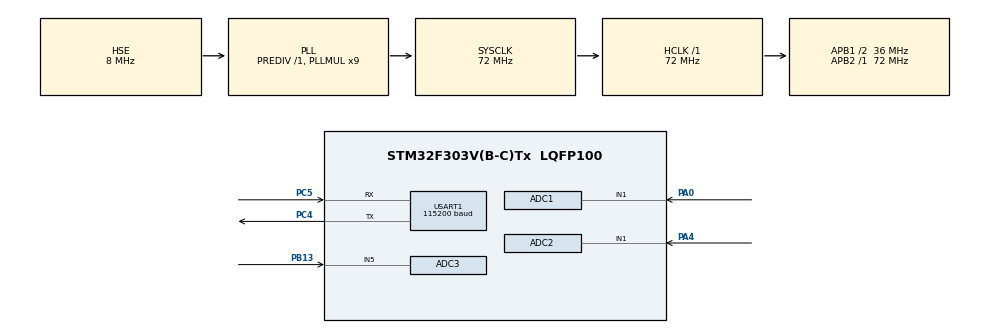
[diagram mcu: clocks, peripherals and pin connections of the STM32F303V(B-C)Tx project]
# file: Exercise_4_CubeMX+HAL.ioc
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ADC1.Channel-1\#ChannelRegularConversion=ADC_CHANNEL_1
ADC1.Channel-2\#ChannelRegularConversion=ADC_CHANNEL_1
ADC1.Channel-3\#ChannelRegularConversion=ADC_CHANNEL_1
ADC1.Channel-4\#ChannelRegularConversion=ADC_CHANNEL_1
ADC1.Channel-5\#ChannelRegularConversion=ADC_CHANNEL_1
ADC1.ContinuousConvMode=DISABLE
ADC1.DMAContinuousRequests=DISABLE
ADC1.NbrOfConversion=5
ADC1.NbrOfConversionFlag=1
ADC1.Offset-1\#ChannelRegularConversion=0
ADC1.Offset-2\#ChannelRegularConversion=0
ADC1.Offset-3\#ChannelRegularConversion=0
ADC1.Offset-4\#ChannelRegularConversion=0
ADC1.Offset-5\#ChannelRegularConversion=0
ADC1.OffsetNumber-1\#ChannelRegularConversion=ADC_OFFSET_NONE
ADC1.OffsetNumber-2\#ChannelRegularConversion=ADC_OFFSET_NONE
ADC1.OffsetNumber-3\#ChannelRegularConversion=ADC_OFFSET_NONE
ADC1.OffsetNumber-4\#ChannelRegularConversion=ADC_OFFSET_NONE
ADC1.OffsetNumber-5\#ChannelRegularConversion=ADC_OFFSET_NONE
ADC1.Rank-1\#ChannelRegularConversion=1
ADC1.Rank-2\#ChannelRegularConversion=2
ADC1.Rank-3\#ChannelRegularConversion=3
ADC1.Rank-4\#ChannelRegularConversion=4
ADC1.Rank-5\#ChannelRegularConversion=5
ADC1.Resolution=ADC_RESOLUTION_8B
ADC1.SamplingTime-1\#ChannelRegularConversion=ADC_SAMPLETIME_1CYCLE_5
ADC1.SamplingTime-2\#ChannelRegularConversion=ADC_SAMPLETIME_1CYCLE_5
ADC1.SamplingTime-3\#ChannelRegularConversion=ADC_SAMPLETIME_1CYCLE_5
ADC1.SamplingTime-4\#ChannelRegularConversion=ADC_SAMPLETIME_1CYCLE_5
ADC1.SamplingTime-5\#ChannelRegularConversion=ADC_SAMPLETIME_1CYCLE_5
ADC1.master=1
ADC2.Channel-1\#ChannelRegularConversion=ADC_CHANNEL_1
ADC2.Channel-2\#ChannelRegularConversion=ADC_CHANNEL_1
ADC2.Channel-3\#ChannelRegularConversion=ADC_CHANNEL_1
ADC2.Channel-4\#ChannelRegularConversion=ADC_CHANNEL_1
ADC2.Channel-6\#ChannelRegularConversion=ADC_CHANNEL_1
ADC2.ContinuousConvMode=DISABLE
ADC2.NbrOfConversion=5
ADC2.NbrOfConversionFlag=1
ADC2.Offset-1\#ChannelRegularConversion=0
ADC2.Offset-2\#ChannelRegularConversion=0
ADC2.Offset-3\#ChannelRegularConversion=0
ADC2.Offset-4\#ChannelRegularConversion=0
ADC2.Offset-6\#ChannelRegularConversion=0
ADC2.OffsetNumber-1\#ChannelRegularConversion=ADC_OFFSET_NONE
ADC2.OffsetNumber-2\#ChannelRegularConversion=ADC_OFFSET_NONE
ADC2.OffsetNumber-3\#ChannelRegularConversion=ADC_OFFSET_NONE
ADC2.OffsetNumber-4\#ChannelRegularConversion=ADC_OFFSET_NONE
ADC2.OffsetNumber-6\#ChannelRegularConversion=ADC_OFFSET_NONE
ADC2.Rank-1\#ChannelRegularConversion=1
ADC2.Rank-2\#ChannelRegularConversion=2
ADC2.Rank-3\#ChannelRegularConversion=3
ADC2.Rank-4\#ChannelRegularConversion=4
ADC2.Rank-6\#ChannelRegularConversion=5
ADC2.Resolution=ADC_RESOLUTION_8B
ADC2.SamplingTime-1\#ChannelRegularConversion=ADC_SAMPLETIME_1CYCLE_5
ADC2.SamplingTime-2\#ChannelRegularConversion=ADC_SAMPLETIME_1CYCLE_5
ADC2.SamplingTime-3\#ChannelRegularConversion=ADC_SAMPLETIME_1CYCLE_5
ADC2.SamplingTime-4\#ChannelRegularConversion=ADC_SAMPLETIME_1CYCLE_5
ADC2.SamplingTime-6\#ChannelRegularConversion=ADC_SAMPLETIME_1CYCLE_5
ADC3.Channel-1\#ChannelRegularConversion=ADC_CHANNEL_5
ADC3.Channel-2\#ChannelRegularConversion=ADC_CHANNEL_5
ADC3.Channel-3\#ChannelRegularConversion=ADC_CHANNEL_5
ADC3.Channel-4\#ChannelRegularConversion=ADC_CHANNEL_5
ADC3.Channel-5\#ChannelRegularConversion=ADC_CHANNEL_5
ADC3.ContinuousConvMode=DISABLE
ADC3.NbrOfConversion=5
ADC3.NbrOfConversionFlag=1
ADC3.Offset-1\#ChannelRegularConversion=0
ADC3.Offset-2\#ChannelRegularConversion=0
ADC3.Offset-3\#ChannelRegularConversion=0
ADC3.Offset-4\#ChannelRegularConversion=0
ADC3.Offset-5\#ChannelRegularConversion=0
ADC3.OffsetNumber-1\#ChannelRegularConversion=ADC_OFFSET_NONE
ADC3.OffsetNumber-2\#ChannelRegularConversion=ADC_OFFSET_NONE
ADC3.OffsetNumber-3\#ChannelRegularConversion=ADC_OFFSET_NONE
ADC3.OffsetNumber-4\#ChannelRegularConversion=ADC_OFFSET_NONE
ADC3.OffsetNumber-5\#ChannelRegularConversion=ADC_OFFSET_NONE
ADC3.Rank-1\#ChannelRegularConversion=1
ADC3.Rank-2\#ChannelRegularConversion=2
ADC3.Rank-3\#ChannelRegularConversion=3
ADC3.Rank-4\#ChannelRegularConversion=4
ADC3.Rank-5\#ChannelRegularConversion=5
ADC3.Resolution=ADC_RESOLUTION_8B
ADC3.SamplingTime-1\#ChannelRegularConversion=ADC_SAMPLETIME_1CYCLE_5
ADC3.SamplingTime-2\#ChannelRegularConversion=ADC_SAMPLETIME_1CYCLE_5
ADC3.SamplingTime-3\#ChannelRegularConversion=ADC_SAMPLETIME_1CYCLE_5
ADC3.SamplingTime-4\#ChannelRegularConversion=ADC_SAMPLETIME_1CYCLE_5
ADC3.SamplingTime-5\#ChannelRegularConversion=ADC_SAMPLETIME_1CYCLE_5
ADC3.master=1
Dma.ADC1.1.Direction=DMA_PERIPH_TO_MEMORY
Dma.ADC1.1.Instance=DMA1_Channel1
Dma.ADC1.1.MemDataAlignment=DMA_MDATAALIGN_WORD
Dma.ADC1.1.MemInc=DMA_MINC_ENABLE
Dma.ADC1.1.Mode=DMA_NORMAL
Dma.ADC1.1.PeriphDataAlignment=DMA_PDATAALIGN_BYTE
Dma.ADC1.1.PeriphInc=DMA_PINC_DISABLE
Dma.ADC1.1.Priority=DMA_PRIORITY_LOW
Dma.ADC2.2.Direction=DMA_PERIPH_TO_MEMORY
Dma.ADC2.2.Instance=DMA2_Channel1
Dma.ADC2.2.MemDataAlignment=DMA_MDATAALIGN_WORD
Dma.ADC2.2.MemInc=DMA_MINC_ENABLE
Dma.ADC2.2.Mode=DMA_NORMAL
Dma.ADC2.2.PeriphDataAlignment=DMA_PDATAALIGN_BYTE
Dma.ADC2.2.PeriphInc=DMA_PINC_DISABLE
Dma.ADC2.2.Priority=DMA_PRIORITY_LOW
Dma.ADC3.0.Direction=DMA_PERIPH_TO_MEMORY
Dma.ADC3.0.Instance=DMA2_Channel5
Dma.ADC3.0.MemDataAlignment=DMA_MDATAALIGN_WORD
Dma.ADC3.0.MemInc=DMA_MINC_ENABLE
Dma.ADC3.0.Mode=DMA_NORMAL
Dma.ADC3.0.PeriphDataAlignment=DMA_PDATAALIGN_BYTE
Dma.ADC3.0.PeriphInc=DMA_PINC_DISABLE
Dma.ADC3.0.Priority=DMA_PRIORITY_LOW
Dma.Request0=ADC3
Dma.Request1=ADC1
Dma.Request2=ADC2
Mcu.Family=STM32F3
Mcu.Name=STM32F303V(B-C)Tx
Mcu.Package=LQFP100
NVIC.DMA1_Channel1_IRQn=true\:0\:0\:false\:false\:true\:false\:true
NVIC.DMA2_Channel1_IRQn=true\:0\:0\:false\:false\:true\:false\:true
NVIC.DMA2_Channel5_IRQn=true\:0\:0\:false\:false\:true\:false\:true
NVIC.PriorityGroup=NVIC_PRIORITYGROUP_4
PA0.Mode=IN1-Single-Ended
PA0.Signal=ADC1_IN1
PA13.Mode=Serial_Wire
PA13.Signal=SYS_JTMS-SWDIO
PA14.Mode=Serial_Wire
PA14.Signal=SYS_JTCK-SWCLK
PA4.Mode=IN1-Single-Ended
PA4.Signal=ADC2_IN1
PB13.Mode=IN5-Single-Ended
PB13.Signal=ADC3_IN5
PC4.Mode=Asynchronous
PC4.Signal=USART1_TX
PC5.Mode=Asynchronous
PC5.Signal=USART1_RX
PF0-OSC_IN.Mode=HSE-External-Clock-Source
PF0-OSC_IN.Signal=RCC_OSC_IN
ProjectManager.HeapSize=0x200
ProjectManager.StackSize=0x400
ProjectManager.TargetToolchain=MDK-ARM V5.27
RCC.ADC12PRES=RCC_ADC12PLLCLK_DIV2
RCC.ADC34PRES=RCC_ADC34PLLCLK_DIV2
RCC.AHBFreq_Value=72000000
RCC.APB1CLKDivider=RCC_HCLK_DIV2
RCC.APB1Freq_Value=36000000
RCC.APB1TimFreq_Value=72000000
RCC.APB2Freq_Value=72000000
RCC.APB2TimFreq_Value=72000000
RCC.CortexFreq_Value=72000000
RCC.HCLKFreq_Value=72000000
RCC.HSE_VALUE=8000000
RCC.HSI_VALUE=8000000
RCC.LSE_VALUE=32768
RCC.PLLMUL=RCC_PLL_MUL9
RCC.PLLSourceVirtual=RCC_PLLSOURCE_HSE
RCC.SYSCLKFreq_VALUE=72000000
RCC.SYSCLKSourceVirtual=RCC_SYSCLKSOURCE_PLLCLK
RCC.USBFreq_Value=72000000
USART1.BaudRate=115200
USART1.VirtualMode-Asynchronous=VM_ASYNC
board=custom

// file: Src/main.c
/* USER CODE BEGIN Header */
/**
  ******************************************************************************
  * @file           : main.c
  * @brief          : Main program body
  ******************************************************************************
  * @attention
  *
  * <h2><center>&copy; Copyright (c) 2019 STMicroelectronics.
  * All rights reserved.</center></h2>
  *
  * This software component is licensed by ST under BSD 3-Clause license,
  * the "License"; You may not use this file except in compliance with the
  * License. You may obtain a copy of the License at:
  *                        opensource.org/licenses/BSD-3-Clause
  *
  ******************************************************************************
  */
/* USER CODE END Header */

#include "main.h"
#include "adc.h"
#include "dma.h"
#include "usart.h"
#include "gpio.h"

/* USER CODE BEGIN Includes */

#include "..\Lib\arr.h"

/* USER CODE END Includes */

/* USER CODE BEGIN PTD */

///< Number of ADC samples (must be synced with HAL ADC settings)
#define ADC_SAMPLES_NUM		5

/// Length of ADC caption (including '\0') max value 255
#define ADC_CAPTION_LENGTH	6

/// ADC control struct.
typedef struct __ADC_ControlTypeDef {
	uint8_t caption[ADC_CAPTION_LENGTH];	///< User friendly name of ADC
	ADC_HandleTypeDef *adc;			///< Pointer to ADC HAL handler struct
	uint32_t buff[ADC_SAMPLES_NUM];		///< Measurements buffer
	uint8_t conv_cplt_f;			///< Conversion completed flag
} ADC_ControlTypeDef;

/* USER CODE END PTD */

/* USER CODE BEGIN PV */

/// Store ADC control struct
ADC_ControlTypeDef adc[3];

/* USER CODE END PV */

void SystemClock_Config(void);
/* USER CODE BEGIN PFP */

/** \brief	Set conversion compleat flag (redefined callback).
 *
 * \param[in] hadc	Pointer to ADC control struct.
 */
void HAL_ADC_ConvCpltCallback(ADC_HandleTypeDef* hadc)
{
	if (hadc == &hadc1) {
		adc[0].conv_cplt_f = 1;		// set conversion completed flag
	}
	if (hadc == &hadc2) {
		adc[1].conv_cplt_f = 1;
	}
	if (hadc == &hadc3) {
		adc[2].conv_cplt_f = 1;
	}
}

/** \brief	Initialise ADC control struct by HAL handle and caption.
 *
 * \param[out] 		*adc	Pointer to ADC control struct.
 * \param[in] 		*hadc	Pointer to HAL handle ADC struct.
 * \param[in,out]	title[]	Caption string.
 */
void adc_init(ADC_ControlTypeDef *adc, ADC_HandleTypeDef *hadc, char title[])
{
	// copy caption (with preventing overloading)
	for (uint8_t i = 0; i < (ADC_CAPTION_LENGTH - 1); i++) {
		adc->caption[i] = title[i];

		if (title[i] == 0) {
			break;
		}
	}
	adc->caption[ADC_CAPTION_LENGTH - 1] = '\0';

	adc->conv_cplt_f = 0;
	adc->adc = hadc;

	HAL_ADC_Start_DMA(hadc, adc->buff, ADC_SAMPLES_NUM);
}

/** \brief	Print measured values according to received ADC control struct pointer.
 *
 * \param[in]	*adc	Pointer to ADC control struct.
 *
 * \note	Printing format:
 *		[caption] tab [val1] tab [val2] ... tab [val5] new line + return
 */
void adc_print(ADC_ControlTypeDef *adc)
{
	// display ADC caption
	HAL_UART_Transmit(	&huart1,
				adc->caption,
				strlen((char*)adc->caption),
				HAL_MAX_DELAY
			);
	uint8_t tab_ch = '\t';
	HAL_UART_Transmit(&huart1, &tab_ch, 1, HAL_MAX_DELAY);

	// display measured(changed) values
	arr_print(adc->buff, ADC_SAMPLES_NUM);
}

/** \brief	Clean ADC values printin area from old values (3 lines height).
 *
 * \pre		Must be used after ADC measurements printing by adc_print().
 */
void terminal_clean(void)
{
	// move cursor up for three lines
	uint8_t up_str[] = {"\33[3A"};
	HAL_UART_Transmit(&huart1, up_str, strlen((char*)up_str), HAL_MAX_DELAY);

	// clear printing area (3 lines down)
	uint8_t clean_str[] = {"     \t   \t   \t   \t   \t   \n\r"};
	HAL_UART_Transmit(&huart1, clean_str, strlen((char*)clean_str), HAL_MAX_DELAY);
	HAL_UART_Transmit(&huart1, clean_str, strlen((char*)clean_str), HAL_MAX_DELAY);
	HAL_UART_Transmit(&huart1, clean_str, strlen((char*)clean_str), HAL_MAX_DELAY);

	// move cursor up for three lines
	HAL_UART_Transmit(&huart1, up_str, strlen((char*)up_str), HAL_MAX_DELAY);
}

/* USER CODE END PFP */

int main(void)
{

  /* MCU Configuration--------------------------------------------------------*/

  /* Reset of all peripherals, Initializes the Flash interface and the Systick. */
  HAL_Init();

  /* Configure the system clock */
  SystemClock_Config();

  /* Initialize all configured peripherals */
  MX_GPIO_Init();
  MX_DMA_Init();
  MX_ADC1_Init();
  MX_ADC2_Init();
  MX_ADC3_Init();
  MX_USART1_UART_Init();
  /* USER CODE BEGIN 2 */

	adc_init(adc + 0, &hadc1, "ADC 1");
	adc_init(adc + 1, &hadc2, "ADC 2");
	adc_init(adc + 2, &hadc3, "ADC 3");

	uint8_t welcome_msg[] = {"\n\r8bit ADC1-ch1 PA0, ADC2-ch1 PA4, ADC3-ch5 PB13 values\n\r"};
	HAL_UART_Transmit(&huart1, welcome_msg, strlen((char*)welcome_msg), 1000);

  /* USER CODE END 2 */

  /* Infinite loop */
  /* USER CODE BEGIN WHILE */

  while (1)
  {
	for (uint8_t i = 0; i < 3; i++) {
		adc_print(adc + i);

		if (adc[i].conv_cplt_f == 1) {
			adc[i].conv_cplt_f = 0;	// clear conversion compleated flag

			HAL_ADC_Start_DMA(adc[i].adc, adc[i].buff, ADC_SAMPLES_NUM);
		}
	}
	HAL_Delay(100);				// user friendly speed down

	terminal_clean();

    /* USER CODE END WHILE */

  }
}

void SystemClock_Config(void)
{
  RCC_OscInitTypeDef RCC_OscInitStruct = {0};
  RCC_ClkInitTypeDef RCC_ClkInitStruct = {0};
  RCC_PeriphCLKInitTypeDef PeriphClkInit = {0};

  /** Initializes the CPU, AHB and APB busses clocks
  */
  RCC_OscInitStruct.OscillatorType = RCC_OSCILLATORTYPE_HSE;
  RCC_OscInitStruct.HSEState = RCC_HSE_BYPASS;
  RCC_OscInitStruct.HSEPredivValue = RCC_HSE_PREDIV_DIV1;
  RCC_OscInitStruct.HSIState = RCC_HSI_ON;
  RCC_OscInitStruct.PLL.PLLState = RCC_PLL_ON;
  RCC_OscInitStruct.PLL.PLLSource = RCC_PLLSOURCE_HSE;
  RCC_OscInitStruct.PLL.PLLMUL = RCC_PLL_MUL9;
  if (HAL_RCC_OscConfig(&RCC_OscInitStruct) != HAL_OK)
  {
    Error_Handler();
  }
  /** Initializes the CPU, AHB and APB busses clocks
  */
  RCC_ClkInitStruct.ClockType = RCC_CLOCKTYPE_HCLK|RCC_CLOCKTYPE_SYSCLK
                              |RCC_CLOCKTYPE_PCLK1|RCC_CLOCKTYPE_PCLK2;
  RCC_ClkInitStruct.SYSCLKSource = RCC_SYSCLKSOURCE_PLLCLK;
  RCC_ClkInitStruct.AHBCLKDivider = RCC_SYSCLK_DIV1;
  RCC_ClkInitStruct.APB1CLKDivider = RCC_HCLK_DIV2;
  RCC_ClkInitStruct.APB2CLKDivider = RCC_HCLK_DIV1;

  if (HAL_RCC_ClockConfig(&RCC_ClkInitStruct, FLASH_LATENCY_2) != HAL_OK)
  {
    Error_Handler();
  }
  PeriphClkInit.PeriphClockSelection = RCC_PERIPHCLK_USART1|RCC_PERIPHCLK_ADC12
                              |RCC_PERIPHCLK_ADC34;
  PeriphClkInit.Usart1ClockSelection = RCC_USART1CLKSOURCE_PCLK2;
  PeriphClkInit.Adc12ClockSelection = RCC_ADC12PLLCLK_DIV2;
  PeriphClkInit.Adc34ClockSelection = RCC_ADC34PLLCLK_DIV2;
  if (HAL_RCCEx_PeriphCLKConfig(&PeriphClkInit) != HAL_OK)
  {
    Error_Handler();
  }
}

void Error_Handler(void)
{
}

/************************ (C) COPYRIGHT STMicroelectronics *****END OF FILE****/
